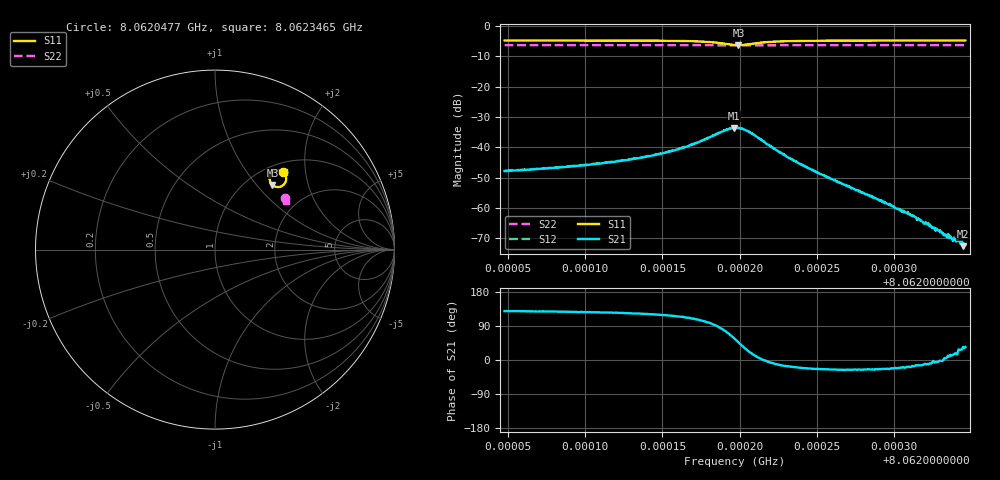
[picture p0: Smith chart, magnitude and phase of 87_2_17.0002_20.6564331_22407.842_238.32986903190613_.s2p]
#  HZ  S  RI  R  50.00
! Rohde & Schwarz Vector Network Analyzer
! Rohde-Schwarz,ZNB20-2Port,1311601062101988,3.16
! Created: UTC 3/20/2024, 10:55:58 PM
! freq[Hz]  re:S11  im:S11  re:S21  im:S21  re:S12  im:S12  re:S22  im:S22
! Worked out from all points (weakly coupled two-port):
!   401 points, 8.0620477 GHz to 8.0623465 GHz, reference 50 ohm
!   highest |S21| = -33.63 dB at 8.0621963 GHz (marker M1); lowest = -72.6 dB at 8.062345 GHz (marker M2)
!   lowest |S11| = -6.3 dB at 8.0621993 GHz (marker M3), VSWR 2.86, Z = 64.8 + j60.8 ohm
!   |S11| at or under -10 dB: nowhere
!   |S22| runs from -6.4 to -6.3 dB; largest |S21 - S12| = 0.0016
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8.06204767e9  0.3799 0.4322  -0.00255 0.00314  -0.00242 0.00334  0.3874 0.2872
8.06209772e9  0.3854 0.4261  -0.003 0.00401  -0.00281 0.00425  0.3892 0.2847
8.06212462e9  0.3894 0.4206  -0.00337 0.00496  -0.0031 0.00527  0.39 0.2831
8.06214777e9  0.3937 0.4121  -0.00378 0.00668  -0.00341 0.007  0.3908 0.2816
8.06216496e9  0.3967 0.3993  -0.0039 0.0093  -0.00326 0.00963  0.3915 0.2803
8.06218139e9  0.3911 0.3727  -0.00167 0.0148  -0.00076 0.015  0.3911 0.2783
8.06219036e9  0.3678 0.3519  0.00415 0.0185  0.00536 0.0183  0.3902 0.2776
8.06219633e9  0.336 0.3509  0.011 0.0177  0.0123 0.0169  0.3889 0.2777
8.06219708e9  0.3318 0.3526  0.0119 0.0171  0.0131 0.0164  0.3887 0.2778
8.06219932e9  0.32 0.3602  0.0142 0.0151  0.0155 0.0142  0.3886 0.2783
8.0622053e9  0.3044 0.3913  0.0167 0.00786  0.0173 0.00668  0.3885 0.2795
8.0622165e9  0.3212 0.4306  0.0119 -0.000262  0.012 -0.00106  0.3903 0.2804
8.06223219e9  0.3464 0.441  0.00637 -0.00196  0.00632 -0.00234  0.3919 0.2798
8.06224713e9  0.3589 0.4405  0.00385 -0.00164  0.00383 -0.0019  0.3929 0.2787
8.06229718e9  0.3751 0.4346  0.00102 -0.000455  0.00106 -0.000484  0.3951 0.276
8.06232184e9  0.379 0.4322  0.000531 -9.7e-05  0.000543 -0.000138  0.396 0.2748
8.06232931e9  0.3801 0.4316  0.00042 -2.25e-05  0.000441 -4.77e-05  0.3962 0.2742
8.06233304e9  0.3806 0.4313  0.00035 3.25e-05  0.000369 3.22e-07  0.3963 0.2741
8.06233603e9  0.381 0.4309  0.000315 4.84e-05  0.000347 2.56e-05  0.3965 0.2739
8.06234275e9  0.3817 0.4304  0.000249 0.000125  0.000241 0.000111  0.3966 0.2736
8.062345e9  0.3819 0.4304  0.000193 0.000132  0.000229 0.000121  0.3967 0.2735
8.06234649e9  0.3821 0.4302  0.000206 0.00014  0.000217 0.000115  0.3968 0.2733
